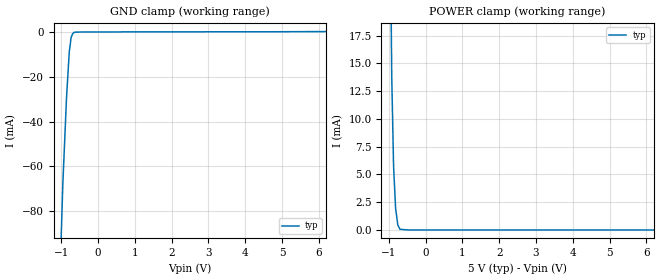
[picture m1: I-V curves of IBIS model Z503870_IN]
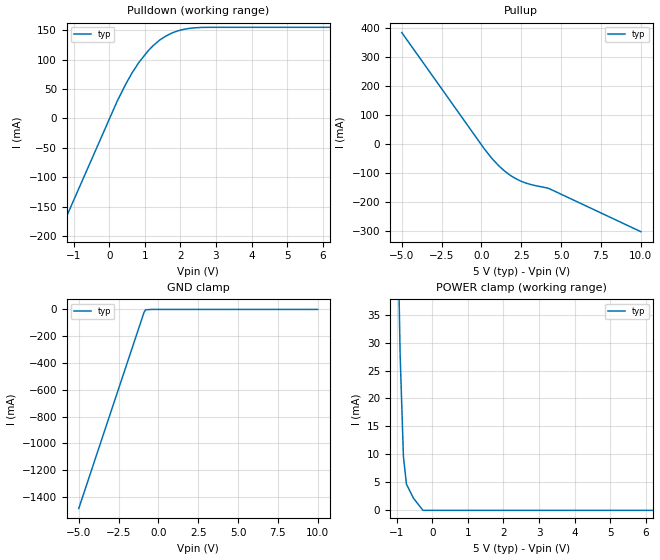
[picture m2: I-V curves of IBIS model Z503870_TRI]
| YOU ARE ONLY AUTHORIZED TO USE THIS SOFTWARE
| ACCORDING TO LICENSOR'S LICENSE RESTRICTIONS.
[IBIS Ver] 3.1
[File Name] mc74act541n.ibs
[File Rev] 2.0
[Source] Measured and created by ICX Technology
[Date] Friday 7/14/00 9:08:02 AM
[Copyright]
| (C) COPYRIGHT 1993-2000
| MENTOR GRAPHICS CORPORATION
| ICX STANDARD LIBRARY, ICX PROJECT MODELING,
| ICX CUSTOM MODELING, ICX VENDOR MODEL
| ALL RIGHTS RESERVED.
| THE FOLLOWING ARE TRADEMARKS OR SERVICE MARKS OF
| MENTOR GRAPHICS CORPORATION:ICX (R), ICX STANDARD
| LIBRARY(R), ICX PROJECT MODELING(R), ICX CUSTOM
| MODELING(R), qualityIBIS(TM), MODELVIEWER(TM),
| AND MODELEDITOR(TM)
| ALL COPIES OF SOFTWARE, INCLUDING BUT NOT LIMITED TO
| ANY MODIFICATIONS, ENHANCEMENTS OR DERIVATIVE WORKS,
| MUST CONTAIN ALL MENTOR GRAPHICS CORPORATION'S
| NOTICES AND LEGENDS, INCLUDING THOSE EMBEDDED IN
| SOFTWARE AND THOSE AFFIXED TO SOFTWARE MEDIUM
| AND CONTAINER, AS RECEIVED FROM MENTOR GRAPHICS
| CORPORATION.
|  ZAP Model Builder 2.7
[Component] MC74ACT541N
[Manufacturer] OnSemiconductor
[Package]
| variable   typ   min   max
R_pkg  .216ohms NA NA
L_pkg  5.76nH NA NA
C_pkg  1.29pF NA NA
[Pin] signal_name  model_name  R_pin  L_pin C_pin
1 _G1 Z503870_IN .232 9.76n 1.87p
2 A0 Z503870_IN .224 7.26n 1.58p
3 A1 Z503870_IN .216 5.26n 1.29p
4 A2 Z503870_IN .208 3.76n 1.0p
5 A3 Z503870_IN .2 2.76n .71p
6 A4 Z503870_IN .2 2.76n .71p
7 A5 Z503870_IN .208 3.76n 1.0p
8 A6 Z503870_IN .216 5.26n 1.29p
9 A7 Z503870_IN .224 7.26n 1.58p
10 GND GND .232 9.76n 1.87p
11 Y7 Z503870_TRI .232 9.76n 1.87p
12 Y6 Z503870_TRI .224 7.26n 1.58p
13 Y5 Z503870_TRI .216 5.26n 1.29p
14 Y4 Z503870_TRI .208 3.76n 1.0p
15 Y3 Z503870_TRI .2 2.76n .71p
16 Y2 Z503870_TRI .2 2.76n .71p
17 Y1 Z503870_TRI .208 3.76n 1.0p
18 Y0 Z503870_TRI .216 5.26n 1.29p
19 _G2 Z503870_IN .224 7.26n 1.58p
20 VCC POWER .232 9.76n 1.87p
| Models and submodels in the file (2): Z503870_IN (Input), Z503870_TRI (3-state)
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| (C) COPYRIGHT 1993-2000
| MENTOR GRAPHICS CORPORATION
| ICX STANDARD LIBRARY, ICX PROJECT MODELING,
| ICX CUSTOM MODELING, ICX VENDOR MODEL
| ALL RIGHTS RESERVED.
| THE FOLLOWING ARE TRADEMARKS OR SERVICE MARKS OF
| MENTOR GRAPHICS CORPORATION:ICX (R), ICX STANDARD
| LIBRARY(R), ICX PROJECT MODELING(R), ICX CUSTOM
| MODELING(R), qualityIBIS(TM), MODELVIEWER(TM),
| AND MODELEDITOR(TM)
| ALL COPIES OF SOFTWARE, INCLUDING BUT NOT LIMITED TO
| ANY MODIFICATIONS, ENHANCEMENTS OR DERIVATIVE WORKS,
| MUST CONTAIN ALL MENTOR GRAPHICS CORPORATION'S
| NOTICES AND LEGENDS, INCLUDING THOSE EMBEDDED IN
| SOFTWARE AND THOSE AFFIXED TO SOFTWARE MEDIUM
| AND CONTAINER, AS RECEIVED FROM MENTOR GRAPHICS
| CORPORATION.
| Model Application Version 1.89 2/18/99.
[Model] Z503870_IN
Model_type Input
Vinl = 800.0mV
Vinh = 2.000V
C_comp 4.000pF NA NA
| variable typ   min   max
[Voltage Range] 5.000V NA NA
[GND Clamp Reference] 0.000V NA NA
[POWER Clamp Reference] 5.000V NA NA
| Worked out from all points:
|   GND clamp passes 1 mA (typ) near -0.70 V on its own axis
|   POWER clamp passes 1 mA (typ) near -0.77 V on its own axis
[GND Clamp]
-5V       -3.638A    NA         NA
-1.033V   -109mA     NA         NA
-955.7mV  -67.99mA   NA         NA
-855.8mV  -29.47mA   NA         NA
-780.4mV  -8.832mA   NA         NA
-729.9mV  -2.317mA   NA         NA
-686.9mV  -628.4uA   NA         NA
-648.2mV  -80.54uA   NA         NA
10V       532.5uA    NA         NA
[POWER Clamp]
-5V       3.662A     NA         NA
-1.111V   114.1mA    NA         NA
-1.005V   45.48mA    NA         NA
-917mV    13.77mA    NA         NA
-867mV    5.733mA    NA         NA
-812mV    1.93mA     NA         NA
-752mV    447.6uA    NA         NA
-694mV    60.77uA    NA         NA
-462.7mV  0A         NA         NA
10V       0A         NA         NA
| (C) COPYRIGHT 1993-2000
| MENTOR GRAPHICS CORPORATION
| ICX STANDARD LIBRARY, ICX PROJECT MODELING,
| ICX CUSTOM MODELING, ICX VENDOR MODEL
| ALL RIGHTS RESERVED.
| THE FOLLOWING ARE TRADEMARKS OR SERVICE MARKS OF
| MENTOR GRAPHICS CORPORATION:ICX (R), ICX STANDARD
| LIBRARY(R), ICX PROJECT MODELING(R), ICX CUSTOM
| MODELING(R), qualityIBIS(TM), MODELVIEWER(TM),
| AND MODELEDITOR(TM)
| ALL COPIES OF SOFTWARE, INCLUDING BUT NOT LIMITED TO
| ANY MODIFICATIONS, ENHANCEMENTS OR DERIVATIVE WORKS,
| MUST CONTAIN ALL MENTOR GRAPHICS CORPORATION'S
| NOTICES AND LEGENDS, INCLUDING THOSE EMBEDDED IN
| SOFTWARE AND THOSE AFFIXED TO SOFTWARE MEDIUM
| AND CONTAINER, AS RECEIVED FROM MENTOR GRAPHICS
| CORPORATION.
| Model Application Version 1.89 2/18/99.
[Model] Z503870_TRI
Model_type 3-state
Vref=0.000V
Rref=500.0ohms
Cref=50.00pF
Vmeas=1.500V
C_comp 8.000pF NA NA
| variable typ   min   max
[Voltage Range] 5.000V NA NA
[POWER Clamp Reference] 5.000V NA NA
[Pullup Reference] 5.000V NA NA
[Pulldown Reference] 0.000V NA NA
[GND Clamp Reference] 0.000V NA NA
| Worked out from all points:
|   slope of the pulldown table from 0 to 0.75 V, typ, clamps not added: 8.46 ohm
|   slope of the pullup table from 0 to 0.75 V, typ, clamps not added: 14.4 ohm
[GND Clamp]
-5V       -1.485A    NA         NA
-907.1mV  -23.68mA   NA         NA
-804.1mV  -2.866mA   NA         NA
-402mV    0A         NA         NA
10V       0A         NA         NA
[Pulldown]
-5V       -689.5mA   NA         NA
215.5mV   28.92mA    NA         NA
463.1mV   58.73mA    NA         NA
640.6mV   77.73mA    NA         NA
821.3mV   94.56mA    NA         NA
1.084V    114.7mA    NA         NA
1.418V    133.5mA    NA         NA
1.823V    146.9mA    NA         NA
2.1V      151.8mA    NA         NA
2.574V    154.9mA    NA         NA
10V       155.1mA    NA         NA
[Pullup]
-5V       383.8mA    NA         NA
166mV     -14.88mA   NA         NA
629mV     -47.08mA   NA         NA
1.024V    -70.59mA   NA         NA
1.5V      -94.26mA   NA         NA
2.366V    -124.3mA   NA         NA
3.13V     -139.1mA   NA         NA
4.253V    -152.7mA   NA         NA
10V       -300.6mA   NA         NA
[POWER Clamp]
-5V       1.99A      NA         NA
-1.005V   61.5mA     NA         NA
-910mV    27.89mA    NA         NA
-817mV    9.62mA     NA         NA
-732mV    4.68mA     NA         NA
-533mV    2.16mA     NA         NA
-266.5mV  0A         NA         NA
10V       0A         NA         NA
[Ramp]
| variable typ min max
dV/dt_r 2.937/516.1p NA NA
dV/dt_f 2.937/320.2p NA NA
R_load = 500.0Ohms
